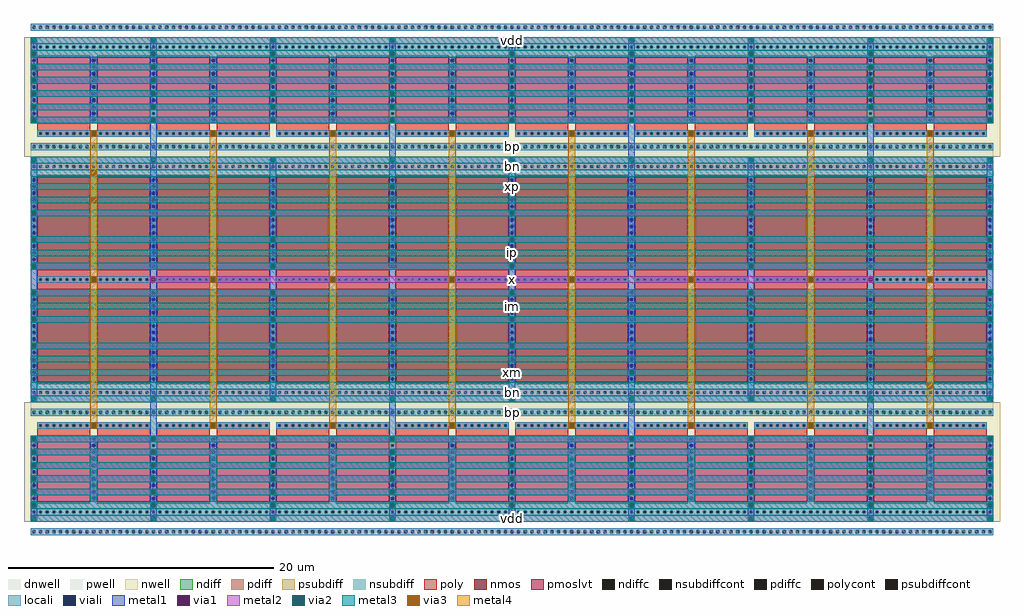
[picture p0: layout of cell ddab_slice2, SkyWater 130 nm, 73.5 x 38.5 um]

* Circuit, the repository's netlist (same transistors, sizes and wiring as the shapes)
* NGSPICE file created from ddab_slice2.ext - technology: sky130A

.subckt inv1p1 in out bp bn vreg vss vsub
X0 vreg in out bp sky130_fd_pr__pfet_01v8_lvt ad=2.5 pd=11 as=1.25 ps=5.5 w=5 l=4
X1 out in vreg bp sky130_fd_pr__pfet_01v8_lvt ad=1.25 pd=5.5 as=2.5 ps=11 w=5 l=4
X2 out in xt bn sky130_fd_pr__nfet_01v8 ad=3.5 pd=15 as=1.75 ps=7.5 w=7 l=4
X3 out in xb bn sky130_fd_pr__nfet_01v8 ad=3.5 pd=15 as=1.75 ps=7.5 w=7 l=4
X4 out in vreg bp sky130_fd_pr__pfet_01v8_lvt ad=1.25 pd=5.5 as=2.5 ps=11 w=5 l=4
X5 xt in vss bn sky130_fd_pr__nfet_01v8 ad=1.75 pd=7.5 as=3.5 ps=15 w=7 l=4
X6 vreg in out bp sky130_fd_pr__pfet_01v8_lvt ad=2.5 pd=11 as=1.25 ps=5.5 w=5 l=4
X7 xb in vss bn sky130_fd_pr__nfet_01v8 ad=1.75 pd=7.5 as=3.5 ps=15 w=7 l=4
.ends

.subckt ddab_slice2 ip im xm xp op om bp bn vdd vss vsub
Xa0 op x bp bn vdd vss vsub inv1p1
Xa1 x x bp bn vdd vss vsub inv1p1
Xa2 x xp bp bn vdd vss vsub inv1p1
Xa3 x xp bp bn vdd vss vsub inv1p1
Xa4 x xm bp bn vdd vss vsub inv1p1
Xa5 x xm bp bn vdd vss vsub inv1p1
Xa6 x x bp bn vdd vss vsub inv1p1
Xa7 om x bp bn vdd vss vsub inv1p1
.ends

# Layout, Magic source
magic
tech sky130A
<< locali >>
rect 50 3800 7300 3850
rect 50 2900 7300 2950
rect 50 2750 7300 2800
rect 4550 1235 4600 1250
rect 4550 1215 4565 1235
rect 4585 1215 4600 1235
rect 4550 1200 4600 1215
rect 50 1050 7300 1100
rect 50 900 7300 950
rect 50 0 7300 50
<< viali >>
rect 4565 1215 4585 1235
<< metal1 >>
rect 6350 1940 6400 1950
rect 6350 1910 6360 1940
rect 6390 1910 6400 1940
rect 6350 1900 6400 1910
rect 4550 1240 4600 1250
rect 4550 1210 4560 1240
rect 4590 1210 4600 1240
rect 4550 1200 4600 1210
<< via1 >>
rect 2760 2610 2790 2640
rect 960 1910 990 1940
rect 6360 1910 6390 1940
rect 4560 1235 4590 1240
rect 4560 1215 4565 1235
rect 4565 1215 4585 1235
rect 4585 1215 4590 1235
rect 4560 1210 4590 1215
<< metal2 >>
rect 2750 2640 2800 2650
rect 2750 2610 2760 2640
rect 2790 2610 2800 2640
rect 2750 2600 2800 2610
rect 950 1940 6400 1950
rect 950 1910 960 1940
rect 990 1910 6360 1940
rect 6390 1910 6400 1940
rect 950 1900 6400 1910
rect 4550 1240 4600 1250
rect 4550 1210 4560 1240
rect 4590 1210 4600 1240
rect 4550 1200 4600 1210
<< via2 >>
rect 2760 2610 2790 2640
rect 4560 1210 4590 1240
<< metal3 >>
rect 50 3700 7300 3750
rect 50 2800 7300 2850
rect 50 2745 7300 2750
rect 50 2705 505 2745
rect 545 2705 7300 2745
rect 50 2700 7300 2705
rect 50 2640 7300 2650
rect 50 2610 2760 2640
rect 2790 2610 7300 2640
rect 50 2600 7300 2610
rect 50 2545 7300 2550
rect 50 2505 505 2545
rect 545 2505 7300 2545
rect 50 2500 7300 2505
rect 50 2100 7300 2150
rect 50 1700 7300 1750
rect 50 1345 7300 1350
rect 50 1305 6805 1345
rect 6845 1305 7300 1345
rect 50 1300 7300 1305
rect 50 1240 7300 1250
rect 50 1210 4560 1240
rect 4590 1210 7300 1240
rect 50 1200 7300 1210
rect 50 1145 7300 1150
rect 50 1105 6805 1145
rect 6845 1105 7300 1145
rect 50 1100 7300 1105
rect 50 1000 7300 1050
rect 50 100 7300 150
<< via3 >>
rect 505 2705 545 2745
rect 505 2505 545 2545
rect 6805 1305 6845 1345
rect 6805 1105 6845 1145
<< metal4 >>
rect 500 2745 550 2750
rect 500 2705 505 2745
rect 545 2705 550 2745
rect 500 2700 550 2705
rect 500 2545 550 2550
rect 500 2505 505 2545
rect 545 2505 550 2545
rect 500 2500 550 2505
rect 6800 1345 6850 1350
rect 6800 1305 6805 1345
rect 6845 1305 6850 1345
rect 6800 1300 6850 1305
rect 6800 1145 6850 1150
rect 6800 1105 6805 1145
rect 6845 1105 6850 1145
rect 6800 1100 6850 1105
use inv1p1  a0
transform 1 0 50 0 1 0
box -50 0 1000 3850
use inv1p1  a1
transform -1 0 1900 0 1 0
box -50 0 1000 3850
use inv1p1  a2
transform 1 0 1850 0 1 0
box -50 0 1000 3850
use inv1p1  a3
transform -1 0 3700 0 1 0
box -50 0 1000 3850
use inv1p1  a4
transform 1 0 3650 0 1 0
box -50 0 1000 3850
use inv1p1  a5
transform -1 0 5500 0 1 0
box -50 0 1000 3850
use inv1p1  a6
transform 1 0 5450 0 1 0
box -50 0 1000 3850
use inv1p1  a7
transform -1 0 7300 0 1 0
box -50 0 1000 3850
<< labels >>
rlabel metal3 50 2100 7300 2150 0 ip
port 1 nsew
rlabel metal3 50 1700 7300 1750 0 im
port 2 nsew
rlabel metal3 50 1200 7300 1250 0 xm
port 3 nsew
rlabel metal3 50 2600 7300 2650 0 xp
port 4 nsew
rlabel metal3 50 2700 7300 2750 0 op
port 5 nsew
rlabel metal3 50 2500 7300 2550 0 op
port 5 nsew
rlabel metal3 50 1300 7300 1350 0 om
port 6 nsew
rlabel metal3 50 1100 7300 1150 0 om
port 6 nsew
rlabel locali 50 2900 7300 2950 0 bp
port 7 nsew
rlabel locali 50 900 7300 950 0 bp
port 7 nsew
rlabel locali 50 2750 7300 2800 0 bn
port 8 nsew
rlabel locali 50 1050 7300 1100 0 bn
port 8 nsew
rlabel metal3 50 3700 7300 3750 0 vdd
port 9 nsew
rlabel metal3 50 100 7300 150 0 vdd
port 9 nsew
rlabel metal3 50 2800 7300 2850 0 vss
port 10 nsew
rlabel metal3 50 1000 7300 1050 0 vss
port 10 nsew
rlabel metal2 3650 1900 3700 1950 0 x
rlabel locali 50 3800 7300 3850 0 vsub
port 11 nsew
rlabel locali 50 0 7300 50 0 vsub
port 11 nsew
<< end >>

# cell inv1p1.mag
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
